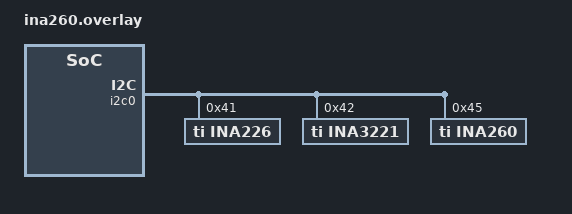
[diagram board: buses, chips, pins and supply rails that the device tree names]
&i2c0 {
    status = "okay";
    ina226: current-monitor@41 {
        compatible = "ti,ina226";
        reg = <0x41>;
        current-lsb-microamps = <25>;
        rshunt-micro-ohms = <100000>;
        zephyr,deferred-init;
    };
    ina3221: current-monitor@42 {
        compatible = "ti,ina3221";
        reg = <0x42>;
        shunt-resistors = <100 100 100>;
        zephyr,deferred-init;
    };
    ina260: current-monitor@45 {
        compatible = "ti,ina260";
        reg = <0x45>;
        zephyr,deferred-init;
    };
};
